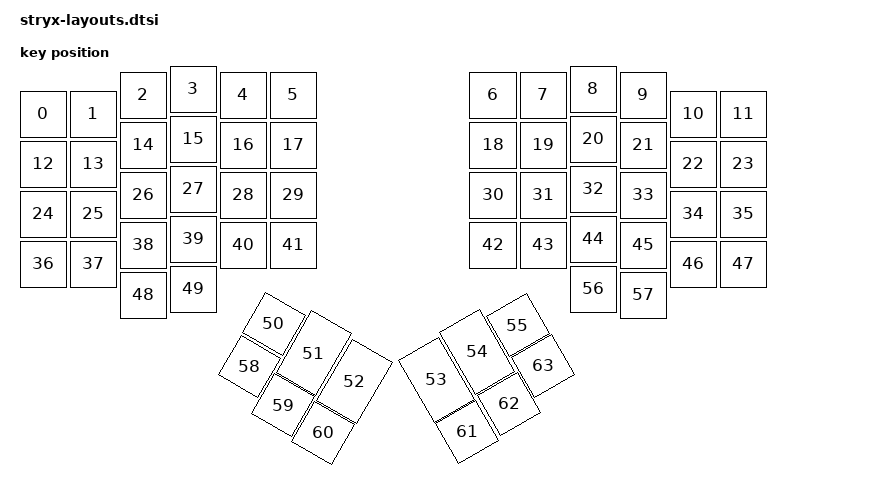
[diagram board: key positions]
#include <physical_layouts.dtsi>
/ {
    physical_layout0: physical_layout_0 {
        compatible = "zmk,physical-layout";
        display-name = "Default";
        kscan = <&kscan0>;
        transform = <&matrix_transform0>;

        keys  //                     w   h    x    y     rot    rx    ry
            = <&key_physical_attrs 100 100    0   50       0     0     0>
            , <&key_physical_attrs 100 100  100   50       0     0     0>
            , <&key_physical_attrs 100 100  200   12       0     0     0>
            , <&key_physical_attrs 100 100  300    0       0     0     0>
            , <&key_physical_attrs 100 100  400   12       0     0     0>
            , <&key_physical_attrs 100 100  500   12       0     0     0>
            , <&key_physical_attrs 100 100  900   12       0     0     0>
            , <&key_physical_attrs 100 100 1000   12       0     0     0>
            , <&key_physical_attrs 100 100 1100    0       0     0     0>
            , <&key_physical_attrs 100 100 1200   12       0     0     0>
            , <&key_physical_attrs 100 100 1300   50       0     0     0>
            , <&key_physical_attrs 100 100 1400   50       0     0     0>
            , <&key_physical_attrs 100 100    0  150       0     0     0>
            , <&key_physical_attrs 100 100  100  150       0     0     0>
            , <&key_physical_attrs 100 100  200  112       0     0     0>
            , <&key_physical_attrs 100 100  300  100       0     0     0>
            , <&key_physical_attrs 100 100  400  112       0     0     0>
            , <&key_physical_attrs 100 100  500  112       0     0     0>
            , <&key_physical_attrs 100 100  900  112       0     0     0>
            , <&key_physical_attrs 100 100 1000  112       0     0     0>
            , <&key_physical_attrs 100 100 1100  100       0     0     0>
            , <&key_physical_attrs 100 100 1200  112       0     0     0>
            , <&key_physical_attrs 100 100 1300  150       0     0     0>
            , <&key_physical_attrs 100 100 1400  150       0     0     0>
            , <&key_physical_attrs 100 100    0  250       0     0     0>
            , <&key_physical_attrs 100 100  100  250       0     0     0>
            , <&key_physical_attrs 100 100  200  212       0     0     0>
            , <&key_physical_attrs 100 100  300  200       0     0     0>
            , <&key_physical_attrs 100 100  400  212       0     0     0>
            , <&key_physical_attrs 100 100  500  212       0     0     0>
            , <&key_physical_attrs 100 100  900  212       0     0     0>
            , <&key_physical_attrs 100 100 1000  212       0     0     0>
            , <&key_physical_attrs 100 100 1100  200       0     0     0>
            , <&key_physical_attrs 100 100 1200  212       0     0     0>
            , <&key_physical_attrs 100 100 1300  250       0     0     0>
            , <&key_physical_attrs 100 100 1400  250       0     0     0>
            , <&key_physical_attrs 100 100    0  350       0     0     0>
            , <&key_physical_attrs 100 100  100  350       0     0     0>
            , <&key_physical_attrs 100 100  200  312       0     0     0>
            , <&key_physical_attrs 100 100  300  300       0     0     0>
            , <&key_physical_attrs 100 100  400  312       0     0     0>
            , <&key_physical_attrs 100 100  500  312       0     0     0>
            , <&key_physical_attrs 100 100  900  312       0     0     0>
            , <&key_physical_attrs 100 100 1000  312       0     0     0>
            , <&key_physical_attrs 100 100 1100  300       0     0     0>
            , <&key_physical_attrs 100 100 1200  312       0     0     0>
            , <&key_physical_attrs 100 100 1300  350       0     0     0>
            , <&key_physical_attrs 100 100 1400  350       0     0     0>
            , <&key_physical_attrs 100 100  200  412       0     0     0>
            , <&key_physical_attrs 100 100  300  400       0     0     0>
            , <&key_physical_attrs 100 100  400  400    3000   350   600>
            , <&key_physical_attrs 100 150  500  412    3000   400   610>
            , <&key_physical_attrs 100 150  600  425    3000   410   610>
            , <&key_physical_attrs 100 150  800  425 (-3000)  1090   590>
            , <&key_physical_attrs 100 150  900  412 (-3000)  1100   590>
            , <&key_physical_attrs 100 100 1000  400 (-3000)  1160   580>
            , <&key_physical_attrs 100 100 1100  400       0     0     0>
            , <&key_physical_attrs 100 100 1200  412       0     0     0>
            , <&key_physical_attrs 100 100  348  512    3000   350   705>
            , <&key_physical_attrs 100 100  350  512    3000   240   865>
            , <&key_physical_attrs 100 100  348  600    3000   340  1090>
            , <&key_physical_attrs 100 100  844  512 (-3000)  1220   640>
            , <&key_physical_attrs 100 100  948  512 (-3000)  1210   650>
            , <&key_physical_attrs 100 100 1052  512 (-3000)  1155   680>
            ;
    };

    position_map {
        compatible = "zmk,physical-layout-position-map";

        complete;

        physical_layout0 {
            physical-layout = <&physical_layout0>;
            positions = <  0  1  2  3  4  5  6  7  8  9 10 11 >
                       ,< 12 13 14 15 16 17 18 19 20 21 22 23 >
                       ,< 24 25 26 27 28 29 30 31 32 33 34 35 >
                       ,< 36 37 38 39 40 41 42 43 44 45 46 47 >
                       ,<    48 49 50 51 52 53 54 55 56 57    >
                       ,<          58 59 60 61 62 63          >;
        };
    };
};
